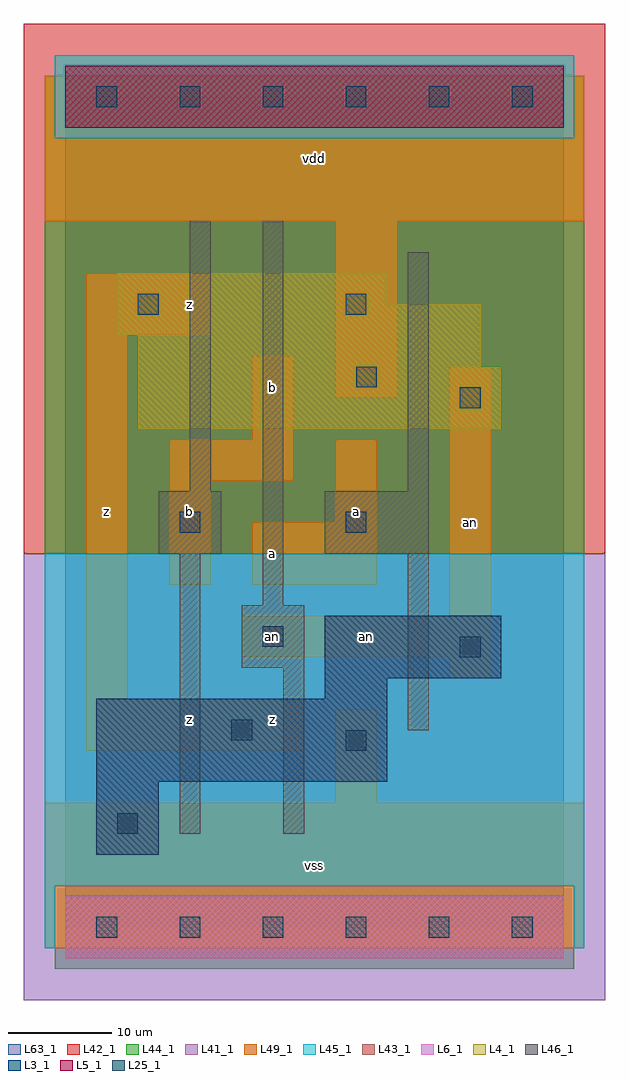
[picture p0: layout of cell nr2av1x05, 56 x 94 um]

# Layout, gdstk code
import gdstk
lib = gdstk.Library(unit=1e-6, precision=1e-09)
def R(c, l, rs):  # rectangles x0, y0, x1, y1
    for r in rs: c.add(gdstk.rectangle(r[:2], r[2:], *l))
def A(c, l, x, y, w, h, nx, ny, dx, dy):  # array of equal rectangles
    R(c, l, [(x+i*dx, y+j*dy, x+i*dx+w, y+j*dy+h) for i in range(nx) for j in range(ny)])
L3_1 = (3, 1)
L4_1 = (4, 1)
L5_1 = (5, 1)
L6_1 = (6, 1)
L25_1 = (25, 1)
L41_1 = (41, 1)
L42_1 = (42, 1)
L43_1 = (43, 1)
L44_1 = (44, 1)
L45_1 = (45, 1)
L46_1 = (46, 1)
L49_1 = (49, 1)
L63_1 = (63, 1)

nr2av1x05 = lib.new_cell('nr2av1x05')
R(nr2av1x05, L3_1, [(3,7,9,14), (3,14,31,22), (25,22,31,24), (25,24,42,30)])
R(nr2av1x05, L4_1, [(7,48,42,54), (7,54,40,57), (5,57,40,60), (5,60,31,63)])
R(nr2av1x05, L5_1, [(0,77,48,83)])
R(nr2av1x05, L6_1, [(0,-3,48,3), (0,-3,48,3)])
A(nr2av1x05, L25_1, 3, -1, 2, 2, 6, 2, 8, 80)
A(nr2av1x05, L25_1, 27, 17, 2, 2, 1, 3, 0, 21)
R(nr2av1x05, L25_1, [(5,9,7,11), (16,18,18,20), (38,26,40,28), (19,27,21,29), (11,38,13,40), (38,50,40,52), (28,52,30,54), (7,59,9,61)])
R(nr2av1x05, L41_1, [(-4,-7,52,36)])
R(nr2av1x05, L42_1, [(-4,36,52,87)])
R(nr2av1x05, L43_1, [(0,-3,48,3), (3,7,9,14), (3,14,31,22), (25,22,31,24), (25,24,42,30), (7,48,42,54), (7,54,40,57), (5,57,40,60), (5,60,31,63), (0,77,48,83)])
R(nr2av1x05, L44_1, [(-1,-4,49,4), (-2,36,50,76), (-2,76,-1,82), (49,76,50,82)])
R(nr2av1x05, L45_1, [(-2,-2,-1,4), (49,-2,50,4), (-2,4,50,36), (-1,76,49,84)])
R(nr2av1x05, L46_1, [(11,9,13,36), (21,9,23,25), (33,19,35,36), (17,25,23,31), (19,31,21,68), (9,36,15,42), (25,36,35,42), (12,42,14,68), (33,42,35,65)])
R(nr2av1x05, L49_1, [(-2,-2,50,12), (26,12,30,21), (2,17,23,22), (2,22,6,57), (37,24,41,26), (17,26,41,30), (37,30,41,54), (10,33,14,43), (18,33,30,39), (26,39,30,47), (10,43,22,47), (18,47,22,55), (26,51,32,68), (2,57,14,63), (-2,68,50,82)])
R(nr2av1x05, L63_1, [(0,0,48,80)])
nr2av1x05.add(gdstk.Label('an', (20,28), layer=49, texttype=1))
nr2av1x05.add(gdstk.Label('z', (4,40), layer=49, texttype=1))
nr2av1x05.add(gdstk.Label('z', (20,20), layer=49, texttype=1))
nr2av1x05.add(gdstk.Label('z', (12,20), layer=49, texttype=1))
nr2av1x05.add(gdstk.Label('a', (20,36), layer=49, texttype=1))
nr2av1x05.add(gdstk.Label('b', (12,40), layer=49, texttype=1))
nr2av1x05.add(gdstk.Label('b', (20,52), layer=49, texttype=1))
nr2av1x05.add(gdstk.Label('z', (12,60), layer=49, texttype=1))
nr2av1x05.add(gdstk.Label('vss', (24,6), layer=49, texttype=1))
nr2av1x05.add(gdstk.Label('a', (28,40), layer=49, texttype=1))
nr2av1x05.add(gdstk.Label('vdd', (24,74), layer=49, texttype=1))
nr2av1x05.add(gdstk.Label('an', (29,28), layer=49, texttype=1))
nr2av1x05.add(gdstk.Label('an', (39,39), layer=49, texttype=1))

lib.write_gds('nr2av1x05.gds')
